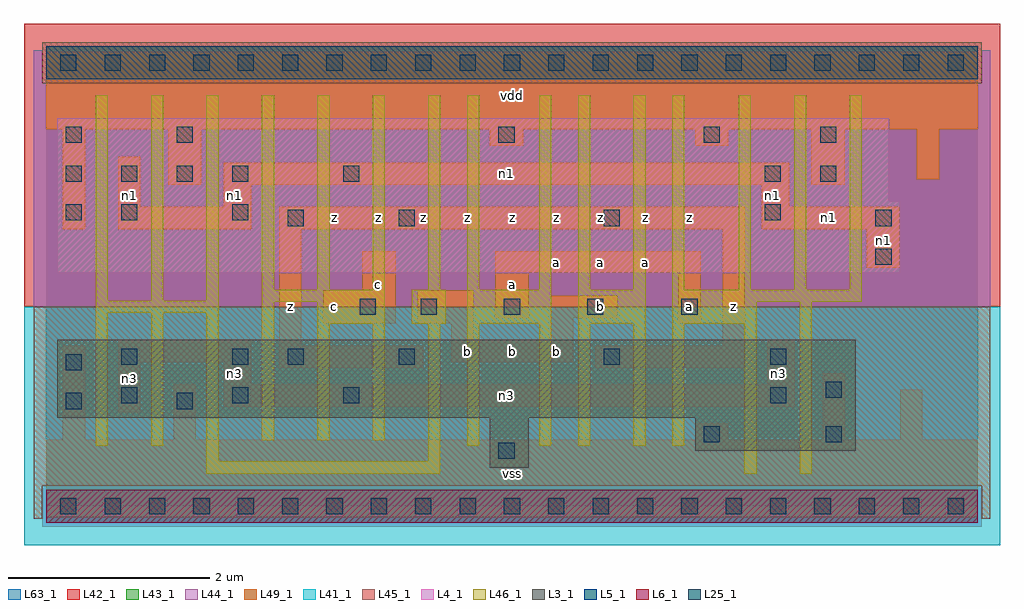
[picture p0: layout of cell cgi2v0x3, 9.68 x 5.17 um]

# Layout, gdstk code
import gdstk
lib = gdstk.Library(unit=1e-6, precision=1e-09)
def R(c, l, rs):  # rectangles x0, y0, x1, y1
    for r in rs: c.add(gdstk.rectangle(r[:2], r[2:], *l))
def A(c, l, x, y, w, h, nx, ny, dx, dy):  # array of equal rectangles
    R(c, l, [(x+i*dx, y+j*dy, x+i*dx+w, y+j*dy+h) for i in range(nx) for j in range(ny)])
L3_1 = (3, 1)
L4_1 = (4, 1)
L5_1 = (5, 1)
L6_1 = (6, 1)
L25_1 = (25, 1)
L41_1 = (41, 1)
L42_1 = (42, 1)
L43_1 = (43, 1)
L44_1 = (44, 1)
L45_1 = (45, 1)
L46_1 = (46, 1)
L49_1 = (49, 1)
L63_1 = (63, 1)

cgi2v0x3 = lib.new_cell('cgi2v0x3')
R(cgi2v0x3, L3_1, [(4.4,0.385,4.785,0.88), (6.435,0.55,8.03,0.88), (0.11,0.88,8.03,1.65)])
R(cgi2v0x3, L4_1, [(0.11,2.31,8.47,3.025), (0.11,3.025,8.36,3.85)])
R(cgi2v0x3, L5_1, [(0,4.235,9.24,4.565)])
R(cgi2v0x3, L6_1, [(0,-0.165,9.24,0.165)])
A(cgi2v0x3, L25_1, 0.14, -0.08, 0.16, 0.16, 21, 2, 0.44, 4.4)
A(cgi2v0x3, L25_1, 0.745, 1.02, 0.16, 0.16, 3, 1, 1.1, 0)
A(cgi2v0x3, L25_1, 3.715, 1.9, 0.16, 0.16, 3, 1, 0.825, 0)
A(cgi2v0x3, L25_1, 0.195, 3.22, 0.16, 0.16, 4, 1, 0.55, 0)
R(cgi2v0x3, L25_1, [(4.485,0.47,4.645,0.63), (6.52,0.635,6.68,0.795), (7.73,0.635,7.89,0.795), (0.195,0.965,0.355,1.125), (1.295,0.965,1.455,1.125), (7.18,1.02,7.34,1.18), (7.73,1.075,7.89,1.235), (0.195,1.35,0.355,1.51), (0.745,1.405,0.905,1.565), (1.845,1.405,2.005,1.565), (2.395,1.405,2.555,1.565), (3.495,1.405,3.655,1.565), (5.53,1.405,5.69,1.565), (7.18,1.405,7.34,1.565), (3.11,1.9,3.27,2.06), (6.3,1.9,6.46,2.06), (8.225,2.395,8.385,2.555), (2.395,2.78,2.555,2.94), (3.495,2.78,3.655,2.94), (5.53,2.78,5.69,2.94), (8.225,2.78,8.385,2.94), (0.195,2.835,0.355,2.995), (0.745,2.835,0.905,2.995), (1.845,2.835,2.005,2.995), (7.125,2.835,7.285,2.995), (2.945,3.22,3.105,3.38), (7.125,3.22,7.285,3.38), (7.675,3.22,7.835,3.38), (0.195,3.605,0.355,3.765), (1.295,3.605,1.455,3.765), (4.485,3.605,4.645,3.765), (6.52,3.605,6.68,3.765), (7.675,3.605,7.835,3.765)])
R(cgi2v0x3, L41_1, [(-0.22,-0.385,9.46,1.98)])
R(cgi2v0x3, L42_1, [(-0.22,1.98,9.46,4.785)])
R(cgi2v0x3, L43_1, [(0,-0.165,9.24,0.165), (4.4,0.385,4.785,0.88), (6.435,0.55,8.03,0.88), (0.11,0.88,8.03,1.65), (0.11,2.31,8.47,3.025), (0.11,3.025,8.36,3.85), (0,4.235,9.24,4.565)])
R(cgi2v0x3, L44_1, [(-0.04,-0.205,9.28,0.205), (-0.125,1.98,9.365,4.195), (-0.125,4.195,-0.04,4.525), (9.28,4.195,9.365,4.525)])
R(cgi2v0x3, L45_1, [(-0.125,-0.125,-0.04,0.205), (9.28,-0.125,9.365,0.205), (-0.125,0.205,9.365,1.98), (-0.04,4.195,9.28,4.605)])
A(cgi2v0x3, L46_1, 0.49, 2.04, 0.12, 2.035, 3, 1, 0.55, 0)
A(cgi2v0x3, L46_1, 2.14, 2.15, 0.12, 1.925, 4, 1, 0.55, 0)
A(cgi2v0x3, L46_1, 6.87, 2.15, 0.12, 1.925, 3, 1, 0.55, 0)
R(cgi2v0x3, L46_1, [(1.59,0.325,3.91,0.445), (6.925,0.325,7.045,1.81), (7.475,0.325,7.595,2.03), (1.59,0.445,1.71,1.92), (3.79,0.445,3.91,1.81), (0.49,0.6,0.61,1.92), (1.04,0.6,1.16,1.92), (4.175,0.6,4.295,1.81), (4.89,0.6,5.01,1.81), (5.275,0.6,5.395,1.81), (5.825,0.6,5.945,1.81), (6.21,0.6,6.33,1.81), (2.14,0.655,2.26,2.03), (2.69,0.655,2.81,1.81), (3.24,0.655,3.36,1.81), (2.69,1.81,3.36,2.03), (3.625,1.81,3.965,2.15), (4.175,1.81,5.01,2.15), (5.275,1.81,5.945,2.15), (6.21,1.81,7.045,2.03), (0.49,1.92,1.71,2.04), (2.14,2.03,3.36,2.15), (6.21,2.03,8.09,2.15), (4.175,2.15,4.295,4.075), (4.89,2.15,5.01,4.075), (5.275,2.15,5.395,4.075), (5.825,2.15,5.945,4.075), (6.21,2.15,6.33,4.075)])
R(cgi2v0x3, L49_1, [(0,-0.11,9.24,0.66), (0.165,0.66,0.385,1.595), (1.265,0.66,1.485,1.21), (6.435,0.66,6.765,0.825), (7.7,0.66,7.92,1.32), (8.47,0.66,8.69,1.155), (0.715,0.935,0.935,1.43), (1.76,0.99,7.425,1.21), (1.76,1.21,2.035,1.43), (7.15,1.21,7.425,1.65), (2.31,1.375,3.74,1.595), (5.445,1.375,6.93,1.595), (0.715,1.43,2.035,1.65), (4.015,1.43,5.225,1.65), (2.31,1.595,2.53,2.75), (6.71,1.595,6.93,2.75), (4.015,1.65,4.235,1.815), (5.005,1.65,5.225,1.87), (2.75,1.815,3.465,2.145), (3.685,1.815,4.235,2.145), (6.27,1.815,6.49,2.31), (4.455,1.87,4.785,2.31), (5.005,1.87,5.665,2.09), (3.135,2.145,3.465,2.53), (4.455,2.31,6.49,2.53), (8.14,2.365,8.47,2.75), (0.165,2.75,0.385,3.74), (0.715,2.75,2.035,2.97), (2.31,2.75,6.93,2.97), (7.095,2.75,8.47,2.97), (0.715,2.97,0.935,3.465), (1.76,2.97,2.035,3.19), (7.095,2.97,7.37,3.19), (1.21,3.19,1.54,3.74), (1.76,3.19,7.37,3.41), (7.59,3.19,7.92,3.74), (8.635,3.245,8.855,3.74), (4.4,3.575,4.73,3.74), (6.435,3.575,6.765,3.74), (0,3.74,9.24,4.51)])
R(cgi2v0x3, L63_1, [(0,0,9.24,4.4)])
cgi2v0x3.add(gdstk.Label('n3', (0.825,1.265), layer=49, texttype=1))
cgi2v0x3.add(gdstk.Label('n1', (0.825,3.08), layer=49, texttype=1))
cgi2v0x3.add(gdstk.Label('n3', (1.87,1.32), layer=49, texttype=1))
cgi2v0x3.add(gdstk.Label('c', (2.86,1.98), layer=49, texttype=1))
cgi2v0x3.add(gdstk.Label('c', (3.3,2.2), layer=49, texttype=1))
cgi2v0x3.add(gdstk.Label('z', (2.42,1.98), layer=49, texttype=1))
cgi2v0x3.add(gdstk.Label('z', (2.86,2.86), layer=49, texttype=1))
cgi2v0x3.add(gdstk.Label('z', (3.3,2.86), layer=49, texttype=1))
cgi2v0x3.add(gdstk.Label('n1', (1.87,3.08), layer=49, texttype=1))
cgi2v0x3.add(gdstk.Label('vss', (4.62,0.33), layer=49, texttype=1))
cgi2v0x3.add(gdstk.Label('b', (4.18,1.54), layer=49, texttype=1))
cgi2v0x3.add(gdstk.Label('b', (4.62,1.54), layer=49, texttype=1))
cgi2v0x3.add(gdstk.Label('b', (5.06,1.54), layer=49, texttype=1))
cgi2v0x3.add(gdstk.Label('a', (4.62,2.2), layer=49, texttype=1))
cgi2v0x3.add(gdstk.Label('a', (5.06,2.42), layer=49, texttype=1))
cgi2v0x3.add(gdstk.Label('z', (4.18,2.86), layer=49, texttype=1))
cgi2v0x3.add(gdstk.Label('z', (4.62,2.86), layer=49, texttype=1))
cgi2v0x3.add(gdstk.Label('z', (5.06,2.86), layer=49, texttype=1))
cgi2v0x3.add(gdstk.Label('z', (3.74,2.86), layer=49, texttype=1))
cgi2v0x3.add(gdstk.Label('vdd', (4.62,4.07), layer=49, texttype=1))
cgi2v0x3.add(gdstk.Label('b', (5.5,1.98), layer=49, texttype=1))
cgi2v0x3.add(gdstk.Label('a', (5.5,2.42), layer=49, texttype=1))
cgi2v0x3.add(gdstk.Label('a', (5.94,2.42), layer=49, texttype=1))
cgi2v0x3.add(gdstk.Label('a', (6.38,1.98), layer=49, texttype=1))
cgi2v0x3.add(gdstk.Label('z', (6.82,1.98), layer=49, texttype=1))
cgi2v0x3.add(gdstk.Label('z', (5.94,2.86), layer=49, texttype=1))
cgi2v0x3.add(gdstk.Label('z', (6.38,2.86), layer=49, texttype=1))
cgi2v0x3.add(gdstk.Label('n1', (7.205,3.08), layer=49, texttype=1))
cgi2v0x3.add(gdstk.Label('z', (5.5,2.86), layer=49, texttype=1))
cgi2v0x3.add(gdstk.Label('n1', (4.565,3.3), layer=49, texttype=1))
cgi2v0x3.add(gdstk.Label('n3', (7.26,1.32), layer=49, texttype=1))
cgi2v0x3.add(gdstk.Label('n3', (4.565,1.1), layer=49, texttype=1))
cgi2v0x3.add(gdstk.Label('n1', (8.305,2.64), layer=49, texttype=1))
cgi2v0x3.add(gdstk.Label('n1', (7.755,2.86), layer=49, texttype=1))

lib.write_gds('cgi2v0x3.gds')
